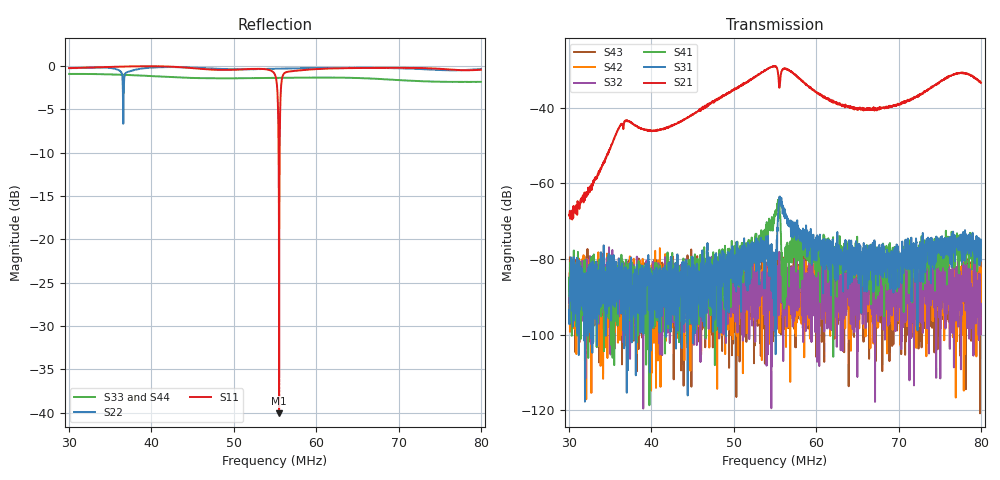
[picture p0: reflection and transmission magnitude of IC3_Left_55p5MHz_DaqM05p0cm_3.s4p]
#  HZ  S  DB  R  50.00
! Rohde & Schwarz Vector Network Analyzer
! Rohde-Schwarz,ZNB8-4Port,1311601044102961,2.82
! Created: UTC 2/13/2019, 9:21:35 AM
! freq[Hz]  db:S11  ang:S11  db:S12  ang:S12  db:S13  ang:S13  db:S14  ang:S14
!  db:S21  ang:S21  db:S22  ang:S22  db:S23  ang:S23  db:S24  ang:S24
!  db:S31  ang:S31  db:S32  ang:S32  db:S33  ang:S33  db:S34  ang:S34
!  db:S41  ang:S41  db:S42  ang:S42  db:S43  ang:S43  db:S44  ang:S44
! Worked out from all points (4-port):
!   2001 points, 30 MHz to 80 MHz, reference 50 ohm
!   strongest paths, dB at 30 MHz, 42.5 MHz, 55 MHz, 67.5 MHz, 80 MHz:
!     S21: -68.3, -44.7, -29.1, -40.3, -33.5
!     S31: -93.6, -92.1, -82.3, -76.9, -80.5
!     S41: -89.7, -85.1, -67.8, -82.6, -78.6
!     S32: -86.6, -96.4, -90.3, -81.9, -91.9
!     S42: -90.2, -98.0, -85.4, -84.0, -82.6
!     S43: -86.6, -85.3, -85.7, -95.8, -80.5
!   lowest |S11| = -40.1 dB at 55.5 MHz (marker M1), VSWR 1.02, Z = 49.1 + j0.337 ohm
!   |S11| at or under -10 dB: 55.43602 MHz to 55.56655 MHz (130.5 kHz wide, 0.235 % of centre)
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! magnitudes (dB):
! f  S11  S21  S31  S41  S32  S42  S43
! 30 MHz  -0.3  -68.3  -93.6  -89.7  -86.6  -90.2  -86.6
! 36.9 MHz  -0.1  -43.5  -93.3  -80.2  -90.2  -82.8  -92.9
! 54.95 MHz  -0.9  -29.1  -88.5  -68.3  -99.0  -85.5  -89.3
! 55.5 MHz  -40.1  -34.3  -64.8  -64.8  -83.3  -90.3  -89.4
! 56.12 MHz  -0.9  -29.7  -68.7  -84.2  -86.6  -91.7  -91.9
! 65.88 MHz  -0.2  -40.3  -77.7  -78.3  -89.1  -83.7  -97.1
! 80 MHz  -0.4  -33.5  -80.5  -78.6  -91.9  -82.6  -80.5
